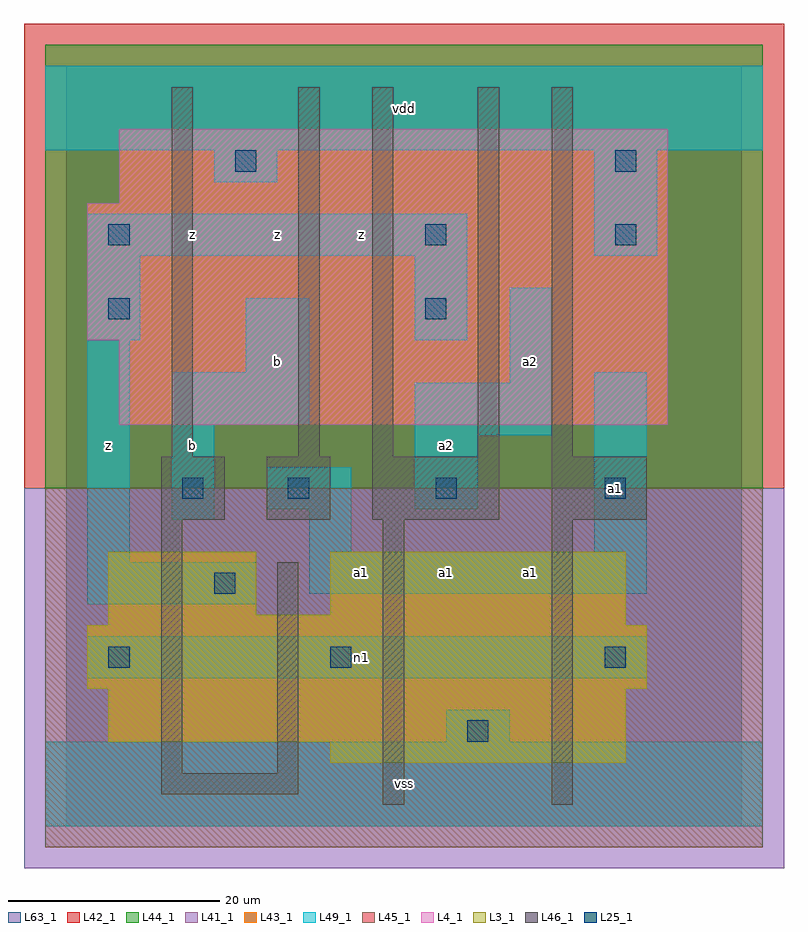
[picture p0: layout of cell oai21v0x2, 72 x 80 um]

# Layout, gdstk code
import gdstk
lib = gdstk.Library(unit=1e-6, precision=1e-09)
def R(c, l, rs):  # rectangles x0, y0, x1, y1
    for r in rs: c.add(gdstk.rectangle(r[:2], r[2:], *l))
L3_1 = (3, 1)
L4_1 = (4, 1)
L25_1 = (25, 1)
L41_1 = (41, 1)
L42_1 = (42, 1)
L43_1 = (43, 1)
L44_1 = (44, 1)
L45_1 = (45, 1)
L46_1 = (46, 1)
L49_1 = (49, 1)
L63_1 = (63, 1)

oai21v0x2 = lib.new_cell('oai21v0x2')
R(oai21v0x2, L3_1, [(25,6,53,8), (4,8,53,13), (2,13,55,19), (4,19,53,20), (4,20,18,26), (25,20,53,26)])
R(oai21v0x2, L4_1, [(5,38,57,46), (2,46,57,59), (5,59,57,66)])
R(oai21v0x2, L25_1, [(38,8,40,10), (4,15,6,17), (25,15,27,17), (51,15,53,17), (14,22,16,24), (11,31,13,33), (21,31,23,33), (35,31,37,33), (51,31,53,33), (4,48,6,50), (34,48,36,50), (4,55,6,57), (34,55,36,57), (52,55,54,57), (16,62,18,64), (52,62,54,64)])
R(oai21v0x2, L41_1, [(-4,-4,68,32)])
R(oai21v0x2, L42_1, [(-4,32,68,76)])
R(oai21v0x2, L43_1, [(25,6,53,8), (4,8,53,13), (2,13,55,19), (4,19,53,20), (4,20,18,26), (25,20,53,26), (5,38,57,46), (2,46,57,59), (5,59,57,66)])
R(oai21v0x2, L44_1, [(-2,32,66,74)])
R(oai21v0x2, L45_1, [(-2,-2,66,32)])
R(oai21v0x2, L46_1, [(30,2,32,29), (46,2,48,29), (9,3,22,5), (9,5,11,29), (20,5,22,25), (9,29,15,35), (19,29,25,35), (29,29,41,35), (46,29,55,35), (10,35,12,70), (22,35,24,70), (29,35,31,70), (39,35,41,70), (46,35,48,70)])
R(oai21v0x2, L49_1, [(-2,0,66,8), (36,8,42,11), (2,14,55,18), (2,21,18,25), (23,22,55,26), (2,25,6,46), (23,26,27,30), (50,26,55,43), (10,29,14,38), (19,30,27,34), (33,30,39,37), (33,37,46,42), (10,38,23,43), (42,42,46,51), (17,43,23,50), (2,46,7,54), (33,46,38,54), (2,54,38,58), (50,54,56,64), (14,61,20,64), (-2,64,66,72)])
R(oai21v0x2, L63_1, [(0,0,64,72)])
oai21v0x2.add(gdstk.Label('z', (4,36), layer=49, texttype=1))
oai21v0x2.add(gdstk.Label('b', (12,36), layer=49, texttype=1))
oai21v0x2.add(gdstk.Label('z', (12,56), layer=49, texttype=1))
oai21v0x2.add(gdstk.Label('a1', (28,24), layer=49, texttype=1))
oai21v0x2.add(gdstk.Label('b', (20,44), layer=49, texttype=1))
oai21v0x2.add(gdstk.Label('z', (20,56), layer=49, texttype=1))
oai21v0x2.add(gdstk.Label('z', (28,56), layer=49, texttype=1))
oai21v0x2.add(gdstk.Label('vss', (32,4), layer=49, texttype=1))
oai21v0x2.add(gdstk.Label('a1', (36,24), layer=49, texttype=1))
oai21v0x2.add(gdstk.Label('a1', (44,24), layer=49, texttype=1))
oai21v0x2.add(gdstk.Label('a2', (36,36), layer=49, texttype=1))
oai21v0x2.add(gdstk.Label('a2', (44,44), layer=49, texttype=1))
oai21v0x2.add(gdstk.Label('vdd', (32,68), layer=49, texttype=1))
oai21v0x2.add(gdstk.Label('n1', (28,16), layer=49, texttype=1))
oai21v0x2.add(gdstk.Label('a1', (52,32), layer=49, texttype=1))

lib.write_gds('oai21v0x2.gds')
